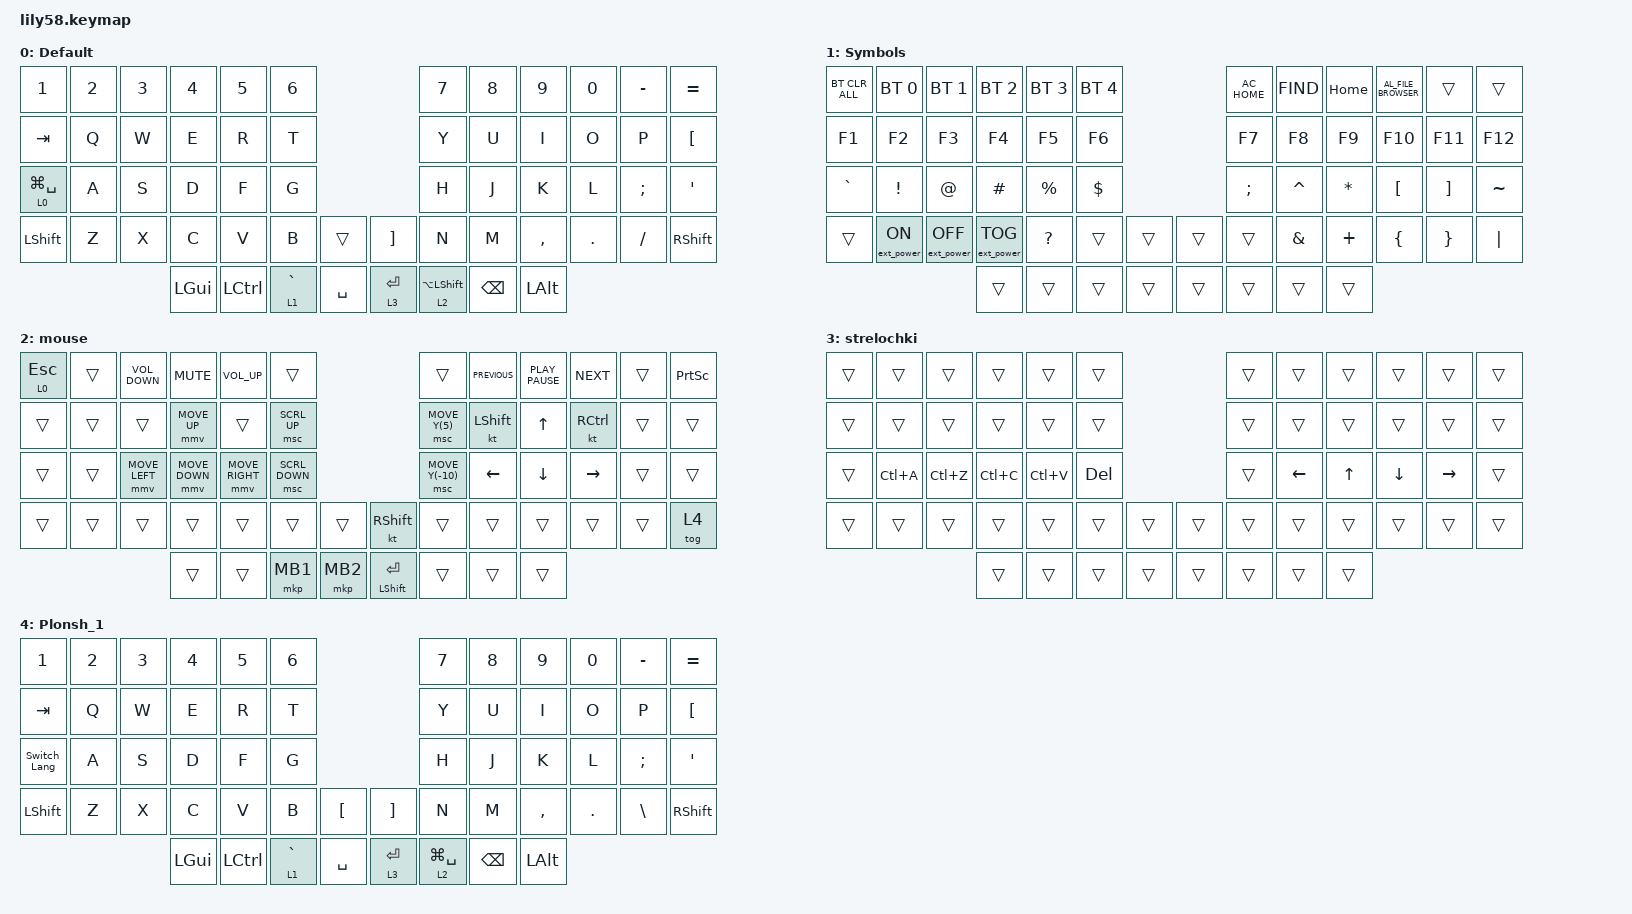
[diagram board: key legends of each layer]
/*
 * Copyright (c) 2020 The ZMK Contributors
 *
 * SPDX-License-Identifier: MIT
 */

#include <behaviors.dtsi>
#include <dt-bindings/zmk/bt.h>
#include <dt-bindings/zmk/ext_power.h>
#include <dt-bindings/zmk/keys.h>
#include <dt-bindings/zmk/pointing.h>

/ {
    combos {
        compatible = "zmk,combos";

        mouse {
            bindings = <&tog 2>;
            key-positions = <28 27 26>;
        };
    };

    behaviors {
        ss_hs_modmorph: ss_hs_modmorph {
            compatible = "zmk,behavior-mod-morph";
            label = "SS_HS_MODMORPH";
            bindings = <&kp M>, <&kp RIGHT_BRACKET>;

            #binding-cells = <0>;
            mods = <(MOD_LSFT|MOD_RSFT)>;
        };

        kh_hs_tapdance: kh_hs_tapdance {
            compatible = "zmk,behavior-tap-dance";
            label = "KH_HS_TAPDANCE";
            #binding-cells = <0>;
            tapping-term-ms = <200>;
            bindings = <&kp LEFT_BRACKET>, <&kp RIGHT_BRACKET>;
        };

        hrm: hrm {
            compatible = "zmk,behavior-hold-tap";
            #binding-cells = <2>;
            flavor = "tap-preferred";
            tapping-term-ms = <200>;
            quick-tap-ms = <200>;
            require-prior-idle-ms = <125>;
            bindings = <&kp>, <&kp>;
        };

        new_behavior: new_behavior {
            compatible = "zmk,behavior-hold-tap";
            label = "NEW_BEHAVIOR";
            bindings = <&Switch_Lang>, <&kp>;

            #binding-cells = <2>;
            tapping-term-ms = <300>;
        };

        press_to: press_to {
            compatible = "zmk,behavior-hold-tap";
            label = "PRESS_TO";
            bindings = <&to>, <&kp>;

            #binding-cells = <2>;
            tapping-term-ms = <300>;
        };
    };

    macros {
        Switch_Lang: Switch_Lang {
            compatible = "zmk,behavior-macro";
            #binding-cells = <0>;
            bindings =
                <&kp LG(SPACE)>,
                <&macro_pause_for_release>,
                <&kp LG(SPACE)>;

            label = "SWITCH_LANG";
        };

        Switch_Lang22: Switch_Lang22 {
            compatible = "zmk,behavior-macro";
            #binding-cells = <0>;
            bindings =
                <&kp LG(SPACE)>,
                <&macro_tap_time 300>,
                <&kp LG(SPACE)>,
                <&macro_pause_for_release>,
                <&kp LG(SPACE)>;

            label = "SWITCH_LANG22";
        };
    };

    keymap {
        compatible = "zmk,keymap";

        Default {
            // ------------------------------------------------------------------------------------------------------------
            // |  ESC  |  1  |  2  |  3   |  4   |  5   |                   |  6   |  7    |  8    |  9   |   0   |   `   |
            // |  TAB  |  Q  |  W  |  E   |  R   |  T   |                   |  Y   |  U    |  I    |  O   |   P   |   -   |
            // |  CTRL |  A  |  S  |  D   |  F   |  G   |                   |  H   |  J    |  K    |  L   |   ;   |   '   |
            // | SHIFT |  Z  |  X  |  C   |  V   |  B   |   "["  |  |  "]"  |  N   |  M    |  ,    |  .   |   /   | SHIFT |
            //                     | ALT  | GUI  | LOWER|  SPACE |  | ENTER | RAISE| BSPC  | GUI   |

            bindings = <
&kp N1                 &kp N2  &kp N3  &kp N4        &kp N5     &kp N6                                 &kp N7                &kp N8    &kp N9     &kp N0   &kp MINUS  &kp EQUAL
&kp TAB                &kp Q   &kp W   &kp E         &kp R      &kp T                                  &kp Y                 &kp U     &kp I      &kp O    &kp P      &kp LBKT
&press_to 0 LG(SPACE)  &kp A   &kp S   &kp D         &kp F      &kp G                                  &kp H                 &kp J     &kp K      &kp L    &kp SEMI   &kp SQT
&kp LSHFT              &kp Z   &kp X   &kp C         &kp V      &kp B        &trans       &kp RBKT     &kp N                 &kp M     &kp COMMA  &kp DOT  &kp SLASH  &kp RIGHT_SHIFT
                                       &kp LEFT_GUI  &kp LCTRL  &lt 1 GRAVE  &kp SPACE    &lt 3 ENTER  &lt 2 LA(LEFT_SHIFT)  &kp BSPC  &kp LALT
            >;
        };

        Symbols {
            // ------------------------------------------------------------------------------------------------------------
            // | BTCLR | BT1 | BT2 |  BT3 |  BT4 |  BT5 |                   |      |       |       |      |       |       |
            // |  F1   |  F2 |  F3 |  F4  |  F5  |  F6  |                   |  F7  |  F8   |  F9   |  F10 |  F11  |  F12  |
            // |   `   |  !  |  @  |  #   |  $   |  %   |                   |  ^   |  &    |  *    |  (   |   )   |   ~   |
            // |       |     |     |      |      |      |        |  |       |      |  _    |  +    |  {   |   }   |  "|"  |
            //                     |      |      |      |        |  |       |      |       |       |

            bindings = <
&bt BT_CLR_ALL  &bt BT_SEL 0      &bt BT_SEL 1       &bt BT_SEL 2       &bt BT_SEL 3  &bt BT_SEL 4                    &kp C_AC_HOME  &kp K_FIND  &kp HOME   &kp C_AL_FILE_BROWSER  &trans             &trans
&kp F1          &kp F2            &kp F3             &kp F4             &kp F5        &kp F6                          &kp F7         &kp F8      &kp F9     &kp F10                &kp F11            &kp F12
&kp GRAVE       &kp EXCL          &kp AT             &kp HASH           &kp PRCNT     &kp DOLLAR                      &kp SEMICOLON  &kp CARET   &kp ASTRK  &kp LEFT_BRACKET       &kp RIGHT_BRACKET  &kp TILDE
&trans          &ext_power EP_ON  &ext_power EP_OFF  &ext_power EP_TOG  &kp QMARK     &trans        &trans    &trans  &trans         &kp AMPS    &kp PLUS   &kp LBRC               &kp RBRC           &kp PIPE
                                                     &trans             &trans        &trans        &trans    &trans  &trans         &trans      &trans
            >;
        };

        mouse {
            bindings = <
&press_to 0 ESCAPE  &trans  &kp C_VOLUME_DOWN  &kp K_MUTE      &kp C_VOLUME_UP  &trans                                            &trans            &kp C_PREVIOUS  &kp K_PLAY_PAUSE  &kp K_NEXT  &trans  &kp PRINTSCREEN
&trans              &trans  &trans             &mmv MOVE_UP    &trans           &msc SCRL_UP                                      &msc MOVE_Y(5)    &kt LEFT_SHIFT  &kp UP            &kt RCTRL   &trans  &trans
&trans              &trans  &mmv MOVE_LEFT     &mmv MOVE_DOWN  &mmv MOVE_RIGHT  &msc SCRL_DOWN                                    &msc MOVE_Y(-10)  &kp LEFT        &kp DOWN          &kp RIGHT   &trans  &trans
&trans              &trans  &trans             &trans          &trans           &trans          &trans      &kt RIGHT_SHIFT       &trans            &trans          &trans            &trans      &trans  &tog 4
                                               &trans          &trans           &mkp MB1        &mkp MB2    &mt LEFT_SHIFT ENTER  &trans            &trans          &trans
            >;
        };

        strelochki {
            bindings = <
&trans  &trans     &trans     &trans     &trans     &trans                     &trans  &trans    &trans  &trans    &trans     &trans
&trans  &trans     &trans     &trans     &trans     &trans                     &trans  &trans    &trans  &trans    &trans     &trans
&trans  &kp LC(A)  &kp LC(Z)  &kp LC(C)  &kp LC(V)  &kp DEL                    &trans  &kp LEFT  &kp UP  &kp DOWN  &kp RIGHT  &trans
&trans  &trans     &trans     &trans     &trans     &trans   &trans    &trans  &trans  &trans    &trans  &trans    &trans     &trans
                              &trans     &trans     &trans   &trans    &trans  &trans  &trans    &trans
            >;
        };

        Plonsh_1 {
            bindings = <
&kp N1        &kp N2  &kp N3  &kp N4        &kp N5     &kp N6                                 &kp N7           &kp N8    &kp N9     &kp N0   &kp MINUS  &kp EQUAL
&kp TAB       &kp Q   &kp W   &kp E         &kp R      &kp T                                  &kp Y            &kp U     &kp I      &kp O    &kp P      &kp LBKT
&Switch_Lang  &kp A   &kp S   &kp D         &kp F      &kp G                                  &kp H            &kp J     &kp K      &kp L    &kp SEMI   &kp SQT
&kp LSHFT     &kp Z   &kp X   &kp C         &kp V      &kp B        &kp LBKT     &kp RBKT     &kp N            &kp M     &kp COMMA  &kp DOT  &kp BSLH   &kp RIGHT_SHIFT
                              &kp LEFT_GUI  &kp LCTRL  &lt 1 GRAVE  &kp SPACE    &lt 3 ENTER  &lt 2 LG(SPACE)  &kp BSPC  &kp LALT
            >;
        };
    };
};
